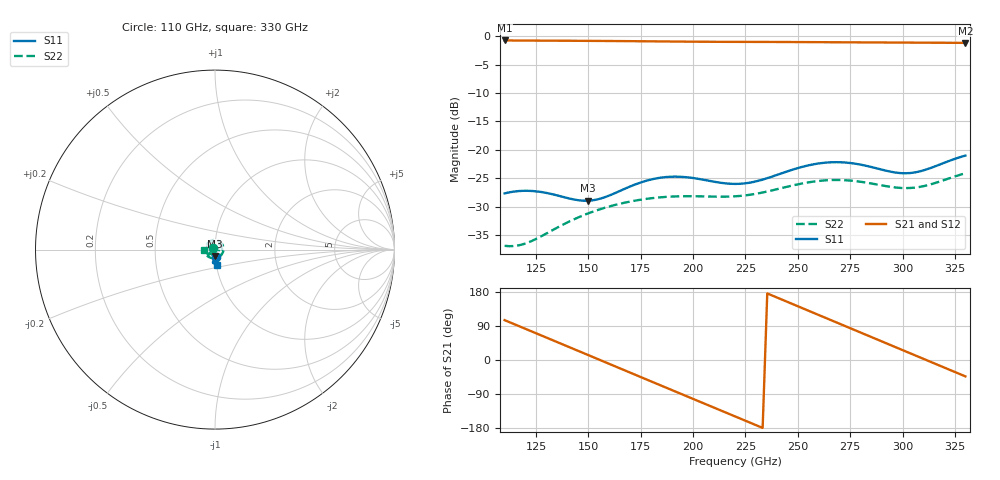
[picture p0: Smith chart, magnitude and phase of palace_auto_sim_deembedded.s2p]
! Created with skrf 1.11.0 (http://scikit-rf.org).
# GHz S DB R 50.0
!freq dBS11 angS11 dBS21 angS21 dBS12 angS12 dBS22 angS22
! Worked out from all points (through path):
!   101 points, 110 GHz to 330 GHz, reference 50 ohm
!   highest |S21| = -0.73 dB at 110 GHz (marker M1); lowest = -1.2 dB at 330 GHz (marker M2)
!   group delay of S21, straight-line fit = 6.42 ps
!   lowest |S11| = -29.0 dB at 149.6 GHz (marker M3), VSWR 1.07, Z = 49.7 - j3.54 ohm
!   |S11| at or under -10 dB: start of sweep to end of sweep
!   |S22| runs from -36.9 to -24.1 dB; largest |S21 - S12| = 1e-13
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110  -27.65 -85.5  -0.73 105.2  -0.73 105.2  -36.89 136.0
118.8  -27.21 -93.0  -0.75 84.9  -0.75 84.9  -36.61 84.3
127.6  -27.42 -99.2  -0.77 64.6  -0.77 64.6  -35.19 35.0
138.6  -28.34 -101.1  -0.78 39.2  -0.78 39.2  -33.02 -19.1
147.4  -28.94 -95.7  -0.80 18.8  -0.80 18.8  -31.54 -58.5
149.6  -28.95 -93.6  -0.81 13.8  -0.81 13.8  -31.22 -68.1
165  -27.23 -82.5  -0.84 -21.9  -0.84 -21.9  -29.49 -133.9
184.8  -24.87 -89.6  -0.91 -67.6  -0.91 -67.6  -28.34 142.0
193.6  -24.73 -95.0  -0.93 -87.9  -0.93 -87.9  -28.17 103.7
202.4  -25.09 -98.3  -0.96 -108.2  -0.96 -108.2  -28.17 64.1
220  -25.99 -93.1  -0.98 -148.8  -0.98 -148.8  -28.17 -21.1
228.8  -25.64 -86.9  -0.99 -169.1  -0.99 -169.1  -27.80 -65.4
237.6  -24.71 -82.9  -1.00 170.6  -1.00 170.6  -27.14 -108.7
246.4  -23.61 -82.6  -1.01 150.2  -1.01 150.2  -26.36 -149.6
257.4  -22.54 -86.7  -1.03 124.7  -1.03 124.7  -25.58 162.4
266.2  -22.17 -91.8  -1.05 104.3  -1.05 104.3  -25.31 125.4
275  -22.31 -96.6  -1.07 84.0  -1.07 84.0  -25.40 88.3
283.8  -22.90 -99.2  -1.08 63.6  -1.08 63.6  -25.83 49.5
294.8  -23.87 -96.3  -1.10 38.2  -1.10 38.2  -26.53 -3.5
303.6  -24.08 -88.7  -1.11 17.8  -1.11 17.8  -26.71 -49.9
312.4  -23.32 -81.5  -1.13 -2.6  -1.13 -2.6  -26.17 -96.8
330  -21.00 -81.2  -1.16 -43.3  -1.16 -43.3  -24.11 179.7
